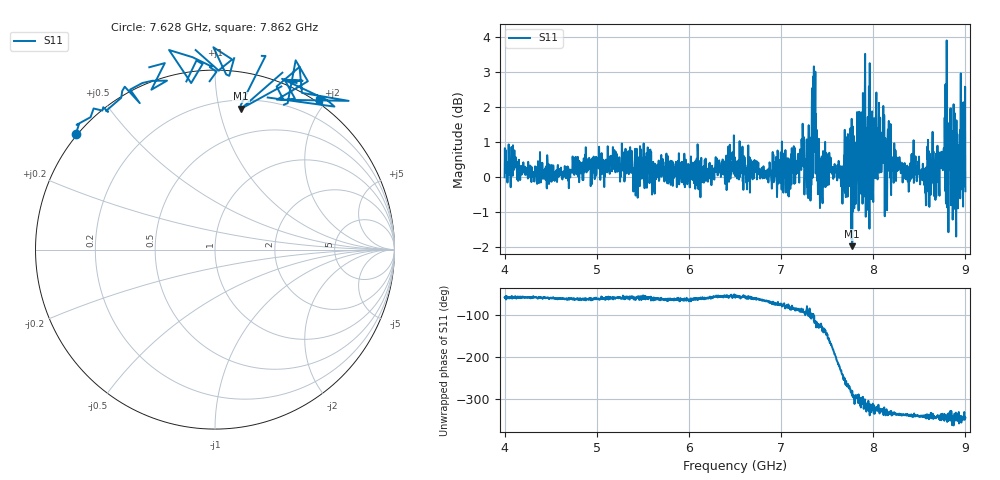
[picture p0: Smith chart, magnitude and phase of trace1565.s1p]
! Created with skrf 1.8.0 (http://scikit-rf.org).
# Hz S RI R 50.0
!freq ReS11 ImS11
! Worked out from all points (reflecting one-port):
!   1601 points, 4 GHz to 9 GHz, reference 50 ohm
!   lowest |S11| = -2.0 dB at 7.772 GHz (marker M1), VSWR 8.89, Z = 13.5 + j58.2 ohm
!   phase of S11 starts at -58 deg and turns -286 deg over the sweep
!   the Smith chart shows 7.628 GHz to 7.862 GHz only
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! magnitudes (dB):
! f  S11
! 4 GHz  0.0
! 4.625 GHz  0.0
! 5.25 GHz  0.2
! 5.875 GHz  0.1
! 6.5 GHz  0.6
! 7.125 GHz  0.1
! 7.225 GHz  0.9
! 7.306 GHz  0.9
! 7.359 GHz  1.9
! 7.425 GHz  0.5
! 7.512 GHz  0.6
! 7.656 GHz  -0.1
! 7.75 GHz  0.6
! 7.772 GHz  -2.0
! 7.788 GHz  1.2
! 7.847 GHz  1.9
! 7.909 GHz  2.5
! 7.928 GHz  0.6
! 7.981 GHz  -0.6
! 8.05 GHz  1.4
! 8.375 GHz  -0.1
! 8.441 GHz  -0.2
! 8.556 GHz  -0.2
! 8.694 GHz  0.5
! 8.788 GHz  -0.7
! 8.875 GHz  0.7
! 8.972 GHz  0.3
! 9 GHz  -0.4
